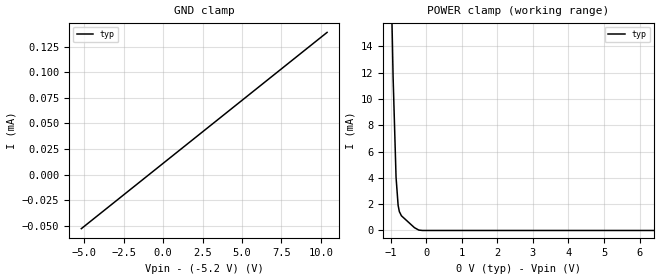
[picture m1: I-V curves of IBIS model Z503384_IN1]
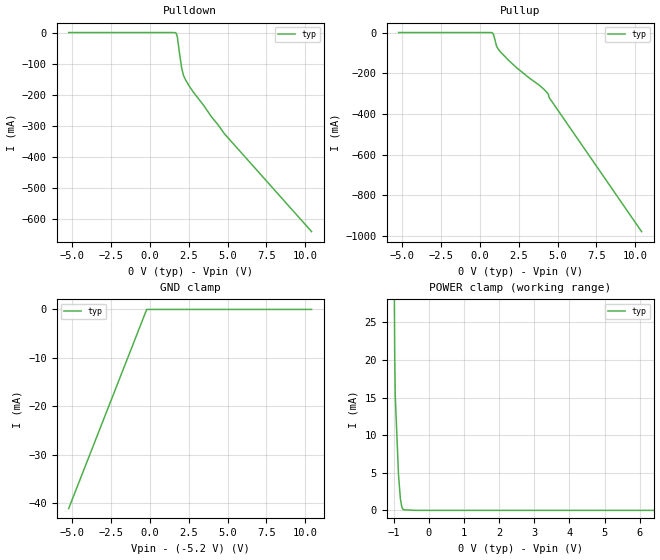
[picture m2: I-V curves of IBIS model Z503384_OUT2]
| YOU ARE ONLY AUTHORIZED TO USE THIS SOFTWARE
| ACCORDING TO LICENSOR'S LICENSE RESTRICTIONS.
[IBIS Ver] 3.1
[File Name] mc100el16d.ibs
[File Rev] 2.0
[Source] Measured and created by ICX Technology
[Date] Friday 7/14/00 9:07:48 AM
[Copyright]
| (C) COPYRIGHT 1993-2000
| MENTOR GRAPHICS CORPORATION
| ICX STANDARD LIBRARY, ICX PROJECT MODELING,
| ICX CUSTOM MODELING, ICX VENDOR MODEL
| ALL RIGHTS RESERVED.
| THE FOLLOWING ARE TRADEMARKS OR SERVICE MARKS OF
| MENTOR GRAPHICS CORPORATION:ICX (R), ICX STANDARD
| LIBRARY(R), ICX PROJECT MODELING(R), ICX CUSTOM
| MODELING(R), qualityIBIS(TM), MODELVIEWER(TM),
| AND MODELEDITOR(TM)
| ALL COPIES OF SOFTWARE, INCLUDING BUT NOT LIMITED TO
| ANY MODIFICATIONS, ENHANCEMENTS OR DERIVATIVE WORKS,
| MUST CONTAIN ALL MENTOR GRAPHICS CORPORATION'S
| NOTICES AND LEGENDS, INCLUDING THOSE EMBEDDED IN
| SOFTWARE AND THOSE AFFIXED TO SOFTWARE MEDIUM
| AND CONTAINER, AS RECEIVED FROM MENTOR GRAPHICS
| CORPORATION.
|  ZAP Model Builder 2.7
[Component] MC100EL16D
[Manufacturer] OnSemiconductor
[Package]
| variable   typ   min   max
R_pkg  .152ohms NA NA
L_pkg  2.714nH NA NA
C_pkg  .364pF NA NA
[Pin] signal_name  model_name  R_pin  L_pin C_pin
1 NC NC .154 2.924n .374p
2 D Z503384_IN1 .15 2.504n .354p
3 _D Z503384_IN1 .15 2.504n .354p
4 VBB NC .154 2.924n .374p
5 VEE POWER .154 2.924n .374p
6 _Q Z503384_OUT2 .15 2.504n .354p
7 Q Z503384_OUT2 .15 2.504n .354p
8 VCC POWER .154 2.924n .374p
| Models and submodels in the file (2): Z503384_IN1 (Input_ECL), Z503384_OUT2 (Output_ECL)
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| (C) COPYRIGHT 1993-2000
| MENTOR GRAPHICS CORPORATION
| ICX STANDARD LIBRARY, ICX PROJECT MODELING,
| ICX CUSTOM MODELING, ICX VENDOR MODEL
| ALL RIGHTS RESERVED.
| THE FOLLOWING ARE TRADEMARKS OR SERVICE MARKS OF
| MENTOR GRAPHICS CORPORATION:ICX (R), ICX STANDARD
| LIBRARY(R), ICX PROJECT MODELING(R), ICX CUSTOM
| MODELING(R), qualityIBIS(TM), MODELVIEWER(TM),
| AND MODELEDITOR(TM)
| ALL COPIES OF SOFTWARE, INCLUDING BUT NOT LIMITED TO
| ANY MODIFICATIONS, ENHANCEMENTS OR DERIVATIVE WORKS,
| MUST CONTAIN ALL MENTOR GRAPHICS CORPORATION'S
| NOTICES AND LEGENDS, INCLUDING THOSE EMBEDDED IN
| SOFTWARE AND THOSE AFFIXED TO SOFTWARE MEDIUM
| AND CONTAINER, AS RECEIVED FROM MENTOR GRAPHICS
| CORPORATION.
| Model Application Version 1.89 2/18/99.
[Model] Z503384_IN1
Model_type Input_ECL
Vinl = -1.480V
Vinh = -1.130V
C_comp 4.000pF NA NA
| variable typ   min   max
[Voltage Range] -5.200V NA NA
[GND Clamp Reference] -5.200V NA NA
[POWER Clamp Reference] 0.000V NA NA
[GND Clamp]
-5.2V     -52.96uA   NA         NA
10.4V     139.1uA    NA         NA
[POWER Clamp]
-5.2V     583.8mA    NA         NA
-927.7mV  11.7mA     NA         NA
-844.5mV  4.054mA    NA         NA
-786.2mV  1.911mA    NA         NA
-752mV    1.439mA    NA         NA
-693.4mV  1.118mA    NA         NA
-327mV    213uA      NA         NA
-205.7mV  30.92uA    NA         NA
-102.8mV  0A         NA         NA
10.4V     0A         NA         NA
| (C) COPYRIGHT 1993-2000
| MENTOR GRAPHICS CORPORATION
| ICX STANDARD LIBRARY, ICX PROJECT MODELING,
| ICX CUSTOM MODELING, ICX VENDOR MODEL
| ALL RIGHTS RESERVED.
| THE FOLLOWING ARE TRADEMARKS OR SERVICE MARKS OF
| MENTOR GRAPHICS CORPORATION:ICX (R), ICX STANDARD
| LIBRARY(R), ICX PROJECT MODELING(R), ICX CUSTOM
| MODELING(R), qualityIBIS(TM), MODELVIEWER(TM),
| AND MODELEDITOR(TM)
| ALL COPIES OF SOFTWARE, INCLUDING BUT NOT LIMITED TO
| ANY MODIFICATIONS, ENHANCEMENTS OR DERIVATIVE WORKS,
| MUST CONTAIN ALL MENTOR GRAPHICS CORPORATION'S
| NOTICES AND LEGENDS, INCLUDING THOSE EMBEDDED IN
| SOFTWARE AND THOSE AFFIXED TO SOFTWARE MEDIUM
| AND CONTAINER, AS RECEIVED FROM MENTOR GRAPHICS
| CORPORATION.
| Model Application Version 1.89 2/18/99.
[Model] Z503384_OUT2
Model_type Output_ECL
Vref=-2.000V
Rref=50.00ohms
Cref=0.000F
Vmeas=-1.305V
C_comp 8.000pF NA NA
| variable typ   min   max
[Voltage Range] -5.200V NA NA
[POWER Clamp Reference] 0.000V NA NA
[Pullup Reference] 0.000V NA NA
[Pulldown Reference] 0.000V NA NA
[GND Clamp Reference] -5.200V NA NA
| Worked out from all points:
|   POWER clamp passes 1 mA (typ) near -0.79 V on its own axis
[GND Clamp]
-5.2V     -41.04mA   NA         NA
-188mV    0A         NA         NA
10.4V     0A         NA         NA
[Pulldown]
-5.2V     249.1uA    NA         NA
1.666V    -613.2uA   NA         NA
1.704V    -2.194mA   NA         NA
1.775V    -12.73mA   NA         NA
1.943V    -76.38mA   NA         NA
2.06V     -114.2mA   NA         NA
2.158V    -134.9mA   NA         NA
2.32V     -153.1mA   NA         NA
2.813V    -191.9mA   NA         NA
4.805V    -325.6mA   NA         NA
10.4V     -640.3mA   NA         NA
[Pullup]
-5.2V     194.2uA    NA         NA
826.8mV   -1.857mA   NA         NA
896.5mV   -10.75mA   NA         NA
1.094V    -68.65mA   NA         NA
1.343V    -95.76mA   NA         NA
2.393V    -174.2mA   NA         NA
3.823V    -258.6mA   NA         NA
4.395V    -300.9mA   NA         NA
4.43V     -308.3mA   NA         NA
4.453V    -318.3mA   NA         NA
10.4V     -979.1mA   NA         NA
[POWER Clamp]
-5.2V     2.396A     NA         NA
-1.016V   62.82mA    NA         NA
-967.6mV  20.74mA    NA         NA
-952.1mV  15.26mA    NA         NA
-859.4mV  4.733mA    NA         NA
-805.2mV  1.519mA    NA         NA
-766.8mV  478.7uA    NA         NA
-722.7mV  76.2uA     NA         NA
-361.3mV  0A         NA         NA
10.4V     0A         NA         NA
[Ramp]
| variable typ min max
dV/dt_r 476.1m/377.8p NA NA
dV/dt_f 476.1m/441.1p NA NA
R_load = 50.00Ohms
